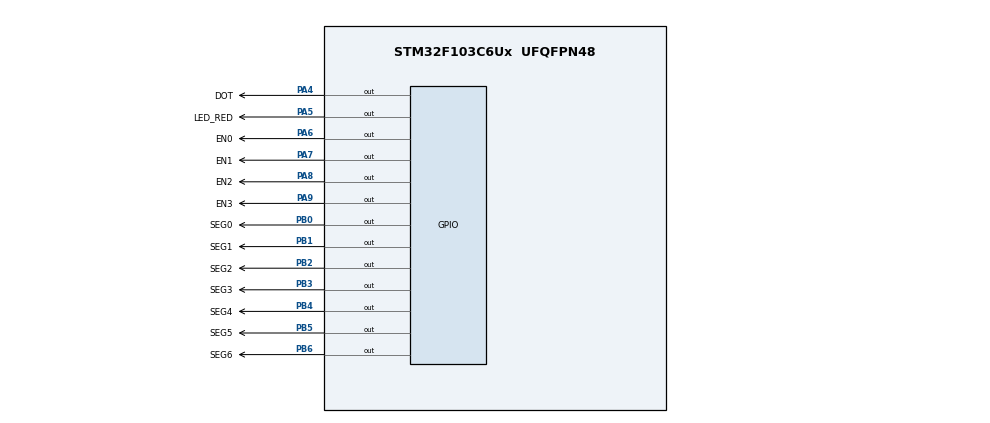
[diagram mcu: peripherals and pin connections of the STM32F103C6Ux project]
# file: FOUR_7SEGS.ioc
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Mcu.Family=STM32F1
Mcu.Name=STM32F103C6Ux
Mcu.Package=UFQFPN48
NVIC.PriorityGroup=NVIC_PRIORITYGROUP_4
NVIC.TIM2_IRQn=true\:0\:0\:false\:false\:true\:true\:true
PA4.GPIO_Label=DOT
PA4.Signal=GPIO_Output
PA5.GPIO_Label=LED_RED
PA5.Signal=GPIO_Output
PA6.GPIO_Label=EN0
PA6.Signal=GPIO_Output
PA7.GPIO_Label=EN1
PA7.Signal=GPIO_Output
PA8.GPIO_Label=EN2
PA8.Signal=GPIO_Output
PA9.GPIO_Label=EN3
PA9.Signal=GPIO_Output
PB0.GPIO_Label=SEG0
PB0.Signal=GPIO_Output
PB1.GPIO_Label=SEG1
PB1.Signal=GPIO_Output
PB2.GPIO_Label=SEG2
PB2.Signal=GPIO_Output
PB3.GPIO_Label=SEG3
PB3.Signal=GPIO_Output
PB4.GPIO_Label=SEG4
PB4.Signal=GPIO_Output
PB5.GPIO_Label=SEG5
PB5.Signal=GPIO_Output
PB6.GPIO_Label=SEG6
PB6.Signal=GPIO_Output
ProjectManager.HeapSize=0x200
ProjectManager.StackSize=0x400
ProjectManager.TargetToolchain=STM32CubeIDE
RCC.APB1Freq_Value=8000000
RCC.APB2Freq_Value=8000000
TIM2.Period=9
TIM2.Prescaler=7999
VP_SYS_VS_ND.Mode=No_Debug
VP_TIM2_VS_ClockSourceINT.Mode=Internal
board=custom

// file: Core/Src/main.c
/* USER CODE BEGIN Header */
/**
  ******************************************************************************
  * @file           : main.c
  * @brief          : Main program body
  ******************************************************************************
  * @attention
  *
  * <h2><center>&copy; Copyright (c) 2022 STMicroelectronics.
  * All rights reserved.</center></h2>
  *
  * This software component is licensed by ST under BSD 3-Clause license,
  * the "License"; You may not use this file except in compliance with the
  * License. You may obtain a copy of the License at:
  *                        opensource.org/licenses/BSD-3-Clause
  *
  ******************************************************************************
  */
/* USER CODE END Header */
#include "main.h"

TIM_HandleTypeDef htim2;

void SystemClock_Config(void);
static void MX_GPIO_Init(void);
static void MX_TIM2_Init(void);

int main(void)
{

  /* MCU Configuration--------------------------------------------------------*/

  /* Reset of all peripherals, Initializes the Flash interface and the Systick. */
  HAL_Init();

  /* Configure the system clock */
  SystemClock_Config();

  /* Initialize all configured peripherals */
  MX_GPIO_Init();
  MX_TIM2_Init();
  /* USER CODE BEGIN 2 */
  HAL_TIM_Base_Start_IT (& htim2 ) ;
  /* USER CODE END 2 */

  /* Infinite loop */
  while (1)
  {

  }
}

void SystemClock_Config(void)
{
  RCC_OscInitTypeDef RCC_OscInitStruct = {0};
  RCC_ClkInitTypeDef RCC_ClkInitStruct = {0};

  /** Initializes the RCC Oscillators according to the specified parameters
  * in the RCC_OscInitTypeDef structure.
  */
  RCC_OscInitStruct.OscillatorType = RCC_OSCILLATORTYPE_HSI;
  RCC_OscInitStruct.HSIState = RCC_HSI_ON;
  RCC_OscInitStruct.HSICalibrationValue = RCC_HSICALIBRATION_DEFAULT;
  RCC_OscInitStruct.PLL.PLLState = RCC_PLL_NONE;
  if (HAL_RCC_OscConfig(&RCC_OscInitStruct) != HAL_OK)
  {
    Error_Handler();
  }
  /** Initializes the CPU, AHB and APB buses clocks
  */
  RCC_ClkInitStruct.ClockType = RCC_CLOCKTYPE_HCLK|RCC_CLOCKTYPE_SYSCLK
                              |RCC_CLOCKTYPE_PCLK1|RCC_CLOCKTYPE_PCLK2;
  RCC_ClkInitStruct.SYSCLKSource = RCC_SYSCLKSOURCE_HSI;
  RCC_ClkInitStruct.AHBCLKDivider = RCC_SYSCLK_DIV1;
  RCC_ClkInitStruct.APB1CLKDivider = RCC_HCLK_DIV1;
  RCC_ClkInitStruct.APB2CLKDivider = RCC_HCLK_DIV1;

  if (HAL_RCC_ClockConfig(&RCC_ClkInitStruct, FLASH_LATENCY_0) != HAL_OK)
  {
    Error_Handler();
  }
}

static void MX_TIM2_Init(void)
{

  TIM_ClockConfigTypeDef sClockSourceConfig = {0};
  TIM_MasterConfigTypeDef sMasterConfig = {0};

  htim2.Instance = TIM2;
  htim2.Init.Prescaler = 7999;
  htim2.Init.CounterMode = TIM_COUNTERMODE_UP;
  htim2.Init.Period = 9;
  htim2.Init.ClockDivision = TIM_CLOCKDIVISION_DIV1;
  htim2.Init.AutoReloadPreload = TIM_AUTORELOAD_PRELOAD_DISABLE;
  if (HAL_TIM_Base_Init(&htim2) != HAL_OK)
  {
    Error_Handler();
  }
  sClockSourceConfig.ClockSource = TIM_CLOCKSOURCE_INTERNAL;
  if (HAL_TIM_ConfigClockSource(&htim2, &sClockSourceConfig) != HAL_OK)
  {
    Error_Handler();
  }
  sMasterConfig.MasterOutputTrigger = TIM_TRGO_RESET;
  sMasterConfig.MasterSlaveMode = TIM_MASTERSLAVEMODE_DISABLE;
  if (HAL_TIMEx_MasterConfigSynchronization(&htim2, &sMasterConfig) != HAL_OK)
  {
    Error_Handler();
  }

}

static void MX_GPIO_Init(void)
{
  GPIO_InitTypeDef GPIO_InitStruct = {0};

  /* GPIO Ports Clock Enable */
  __HAL_RCC_GPIOA_CLK_ENABLE();
  __HAL_RCC_GPIOB_CLK_ENABLE();

  /*Configure GPIO pin Output Level */
  HAL_GPIO_WritePin(GPIOA, DOT_Pin|LED_RED_Pin|EN0_Pin|EN1_Pin
                          |EN2_Pin|EN3_Pin, GPIO_PIN_RESET);

  /*Configure GPIO pin Output Level */
  HAL_GPIO_WritePin(GPIOB, SEG0_Pin|SEG1_Pin|SEG2_Pin|SEG3_Pin
                          |SEG4_Pin|SEG5_Pin|SEG6_Pin, GPIO_PIN_RESET);

  /*Configure GPIO pins : DOT_Pin LED_RED_Pin EN0_Pin EN1_Pin
                           EN2_Pin EN3_Pin */
  GPIO_InitStruct.Pin = DOT_Pin|LED_RED_Pin|EN0_Pin|EN1_Pin
                          |EN2_Pin|EN3_Pin;
  GPIO_InitStruct.Mode = GPIO_MODE_OUTPUT_PP;
  GPIO_InitStruct.Pull = GPIO_NOPULL;
  GPIO_InitStruct.Speed = GPIO_SPEED_FREQ_LOW;
  HAL_GPIO_Init(GPIOA, &GPIO_InitStruct);

  /*Configure GPIO pins : SEG0_Pin SEG1_Pin SEG2_Pin SEG3_Pin
                           SEG4_Pin SEG5_Pin SEG6_Pin */
  GPIO_InitStruct.Pin = SEG0_Pin|SEG1_Pin|SEG2_Pin|SEG3_Pin
                          |SEG4_Pin|SEG5_Pin|SEG6_Pin;
  GPIO_InitStruct.Mode = GPIO_MODE_OUTPUT_PP;
  GPIO_InitStruct.Pull = GPIO_NOPULL;
  GPIO_InitStruct.Speed = GPIO_SPEED_FREQ_LOW;
  HAL_GPIO_Init(GPIOB, &GPIO_InitStruct);

}

/* USER CODE BEGIN 4 */
void display7SEG(int num){
  	if(num == 0){
  		HAL_GPIO_WritePin(SEG0_GPIO_Port, SEG0_Pin, RESET);
  		HAL_GPIO_WritePin(SEG1_GPIO_Port, SEG1_Pin, RESET);
  		HAL_GPIO_WritePin(SEG2_GPIO_Port, SEG2_Pin, RESET);
  		HAL_GPIO_WritePin(SEG3_GPIO_Port, SEG3_Pin, RESET);
  		HAL_GPIO_WritePin(SEG4_GPIO_Port, SEG4_Pin, RESET);
  		HAL_GPIO_WritePin(SEG5_GPIO_Port, SEG5_Pin, RESET);
  		HAL_GPIO_WritePin(SEG6_GPIO_Port, SEG6_Pin, SET);
  	}
  	else if(num == 1){
  		HAL_GPIO_WritePin(SEG0_GPIO_Port, SEG0_Pin, SET);
  		HAL_GPIO_WritePin(SEG1_GPIO_Port, SEG1_Pin, RESET);
  		HAL_GPIO_WritePin(SEG2_GPIO_Port, SEG2_Pin, RESET);
  		HAL_GPIO_WritePin(SEG3_GPIO_Port, SEG3_Pin, SET);
  		HAL_GPIO_WritePin(SEG4_GPIO_Port, SEG4_Pin, SET);
  		HAL_GPIO_WritePin(SEG5_GPIO_Port, SEG5_Pin, SET);
  		HAL_GPIO_WritePin(SEG6_GPIO_Port, SEG6_Pin, SET);
  	}
  	else if(num == 2){
  		HAL_GPIO_WritePin(SEG0_GPIO_Port, SEG0_Pin, RESET);
  		HAL_GPIO_WritePin(SEG1_GPIO_Port, SEG1_Pin, RESET);
  		HAL_GPIO_WritePin(SEG2_GPIO_Port, SEG2_Pin, SET);
  		HAL_GPIO_WritePin(SEG3_GPIO_Port, SEG3_Pin, RESET);
  		HAL_GPIO_WritePin(SEG4_GPIO_Port, SEG4_Pin, RESET);
  		HAL_GPIO_WritePin(SEG5_GPIO_Port, SEG5_Pin, SET);
  		HAL_GPIO_WritePin(SEG6_GPIO_Port, SEG6_Pin, RESET);
  	}
  	else if(num == 3){
  		HAL_GPIO_WritePin(SEG0_GPIO_Port, SEG0_Pin, RESET);
  		HAL_GPIO_WritePin(SEG1_GPIO_Port, SEG1_Pin, RESET);
  		HAL_GPIO_WritePin(SEG2_GPIO_Port, SEG2_Pin, RESET);
  		HAL_GPIO_WritePin(SEG3_GPIO_Port, SEG3_Pin, RESET);
  		HAL_GPIO_WritePin(SEG4_GPIO_Port, SEG4_Pin, SET);
  		HAL_GPIO_WritePin(SEG5_GPIO_Port, SEG5_Pin, SET);
  		HAL_GPIO_WritePin(SEG6_GPIO_Port, SEG6_Pin, RESET);
  	}
  	else if(num == 4){
  		HAL_GPIO_WritePin(SEG0_GPIO_Port, SEG0_Pin, SET);
  		HAL_GPIO_WritePin(SEG1_GPIO_Port, SEG1_Pin, RESET);
  		HAL_GPIO_WritePin(SEG2_GPIO_Port, SEG2_Pin, RESET);
  		HAL_GPIO_WritePin(SEG3_GPIO_Port, SEG3_Pin, SET);
  		HAL_GPIO_WritePin(SEG4_GPIO_Port, SEG4_Pin, SET);
  		HAL_GPIO_WritePin(SEG5_GPIO_Port, SEG5_Pin, RESET);
  		HAL_GPIO_WritePin(SEG6_GPIO_Port, SEG6_Pin, RESET);
  	}
  	else if(num == 5){
  		HAL_GPIO_WritePin(SEG0_GPIO_Port, SEG0_Pin, RESET);
  		HAL_GPIO_WritePin(SEG1_GPIO_Port, SEG1_Pin, SET);
  		HAL_GPIO_WritePin(SEG2_GPIO_Port, SEG2_Pin, RESET);
  		HAL_GPIO_WritePin(SEG3_GPIO_Port, SEG3_Pin, RESET);
  		HAL_GPIO_WritePin(SEG4_GPIO_Port, SEG4_Pin, SET);
  		HAL_GPIO_WritePin(SEG5_GPIO_Port, SEG5_Pin, RESET);
  		HAL_GPIO_WritePin(SEG6_GPIO_Port, SEG6_Pin, RESET);
  	}
  	else if(num == 6){
  		HAL_GPIO_WritePin(SEG0_GPIO_Port, SEG0_Pin, RESET);
  		HAL_GPIO_WritePin(SEG1_GPIO_Port, SEG1_Pin, SET);
  		HAL_GPIO_WritePin(SEG2_GPIO_Port, SEG2_Pin, RESET);
  		HAL_GPIO_WritePin(SEG3_GPIO_Port, SEG3_Pin, RESET);
  		HAL_GPIO_WritePin(SEG4_GPIO_Port, SEG4_Pin, RESET);
  		HAL_GPIO_WritePin(SEG5_GPIO_Port, SEG5_Pin, RESET);
  		HAL_GPIO_WritePin(SEG6_GPIO_Port, SEG6_Pin, RESET);
  	}
  	else if(num == 7){
  		HAL_GPIO_WritePin(SEG0_GPIO_Port, SEG0_Pin, RESET);
  		HAL_GPIO_WritePin(SEG1_GPIO_Port, SEG1_Pin, RESET);
  		HAL_GPIO_WritePin(SEG2_GPIO_Port, SEG2_Pin, RESET);
  		HAL_GPIO_WritePin(SEG3_GPIO_Port, SEG3_Pin, SET);
  		HAL_GPIO_WritePin(SEG4_GPIO_Port, SEG4_Pin, SET);
  		HAL_GPIO_WritePin(SEG5_GPIO_Port, SEG5_Pin, SET);
  		HAL_GPIO_WritePin(SEG6_GPIO_Port, SEG6_Pin, SET);
  	}
  	else if(num == 8){
  		HAL_GPIO_WritePin(SEG0_GPIO_Port, SEG0_Pin, RESET);
  		HAL_GPIO_WritePin(SEG1_GPIO_Port, SEG1_Pin, RESET);
  		HAL_GPIO_WritePin(SEG2_GPIO_Port, SEG2_Pin, RESET);
  		HAL_GPIO_WritePin(SEG3_GPIO_Port, SEG3_Pin, RESET);
  		HAL_GPIO_WritePin(SEG4_GPIO_Port, SEG4_Pin, RESET);
  		HAL_GPIO_WritePin(SEG5_GPIO_Port, SEG5_Pin, RESET);
  		HAL_GPIO_WritePin(SEG6_GPIO_Port, SEG6_Pin, RESET);
  	}
  	else if(num == 9){
  		HAL_GPIO_WritePin(SEG0_GPIO_Port, SEG0_Pin, RESET);
  		HAL_GPIO_WritePin(SEG1_GPIO_Port, SEG1_Pin, RESET);
  		HAL_GPIO_WritePin(SEG2_GPIO_Port, SEG2_Pin, RESET);
  		HAL_GPIO_WritePin(SEG3_GPIO_Port, SEG3_Pin, RESET);
  		HAL_GPIO_WritePin(SEG4_GPIO_Port, SEG4_Pin, SET);
  		HAL_GPIO_WritePin(SEG5_GPIO_Port, SEG5_Pin, RESET);
  		HAL_GPIO_WritePin(SEG6_GPIO_Port, SEG6_Pin, RESET);
  	}
  }
int led_counter = 100;
int switch_time = 100;

void HAL_TIM_PeriodElapsedCallback ( TIM_HandleTypeDef * htim ){
	led_counter--;
	if( led_counter <= 0) {
	led_counter = 100;
	HAL_GPIO_TogglePin ( DOT_GPIO_Port , DOT_Pin ) ;
	}

switch_time--;
if(switch_time == 150){
	HAL_GPIO_WritePin(EN0_GPIO_Port, EN0_Pin, RESET);
	HAL_GPIO_WritePin(EN1_GPIO_Port, EN1_Pin, SET);
	HAL_GPIO_WritePin(EN2_GPIO_Port, EN2_Pin, SET);
	HAL_GPIO_WritePin(EN3_GPIO_Port, EN3_Pin, SET);
	display7SEG(1);
}
else if(switch_time == 100){
	HAL_GPIO_WritePin(EN0_GPIO_Port, EN0_Pin, SET);
	HAL_GPIO_WritePin(EN1_GPIO_Port, EN1_Pin, RESET);
	HAL_GPIO_WritePin(EN2_GPIO_Port, EN2_Pin, SET);
	HAL_GPIO_WritePin(EN3_GPIO_Port, EN3_Pin, SET);
	display7SEG(2);
}
else if(switch_time == 50){
	HAL_GPIO_WritePin(EN0_GPIO_Port, EN0_Pin, SET);
	HAL_GPIO_WritePin(EN1_GPIO_Port, EN1_Pin, SET);
	HAL_GPIO_WritePin(EN2_GPIO_Port, EN2_Pin, RESET);
	HAL_GPIO_WritePin(EN3_GPIO_Port, EN3_Pin, SET);
	display7SEG(3);
}
else if(switch_time == 0){
	switch_time = 200;
	HAL_GPIO_WritePin(EN0_GPIO_Port, EN0_Pin, SET);
	HAL_GPIO_WritePin(EN1_GPIO_Port, EN1_Pin, SET);
	HAL_GPIO_WritePin(EN2_GPIO_Port, EN2_Pin, SET);
	HAL_GPIO_WritePin(EN3_GPIO_Port, EN3_Pin, RESET);
	display7SEG(0);
}
}

/* USER CODE END 4 */

void Error_Handler(void)
{
  __disable_irq();
  while (1)
  {
  }
}

/************************ (C) COPYRIGHT STMicroelectronics *****END OF FILE****/
